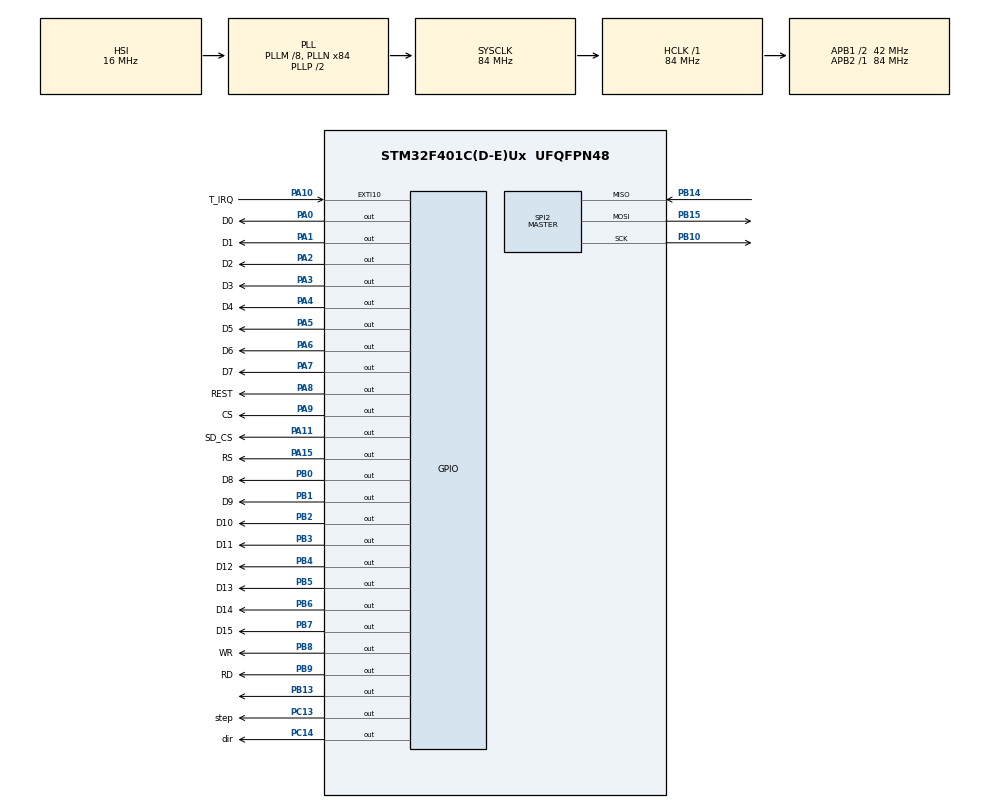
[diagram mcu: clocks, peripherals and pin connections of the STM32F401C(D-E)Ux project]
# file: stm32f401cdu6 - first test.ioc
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Mcu.Family=STM32F4
Mcu.Name=STM32F401C(D-E)Ux
Mcu.Package=UFQFPN48
NVIC.EXTI15_10_IRQn=true\:14\:0\:true\:false\:true\:true\:true\:true
NVIC.PriorityGroup=NVIC_PRIORITYGROUP_4
NVIC.TIM1_UP_TIM10_IRQn=true\:0\:0\:false\:false\:true\:true\:true\:true
PA0-WKUP.GPIO_Label=D0
PA0-WKUP.GPIO_PuPd=GPIO_NOPULL
PA0-WKUP.GPIO_Speed=GPIO_SPEED_FREQ_VERY_HIGH
PA0-WKUP.Signal=GPIO_Output
PA1.GPIO_Label=D1
PA1.GPIO_PuPd=GPIO_NOPULL
PA1.GPIO_Speed=GPIO_SPEED_FREQ_VERY_HIGH
PA1.Signal=GPIO_Output
PA10.GPIO_Label=T_IRQ
PA10.GPIO_ModeDefaultEXTI=GPIO_MODE_IT_FALLING
PA10.Signal=GPXTI10
PA11.GPIO_Label=SD_CS
PA11.PinState=GPIO_PIN_SET
PA11.Signal=GPIO_Output
PA15.GPIO_Label=RS
PA15.GPIO_PuPd=GPIO_NOPULL
PA15.GPIO_Speed=GPIO_SPEED_FREQ_VERY_HIGH
PA15.Signal=GPIO_Output
PA2.GPIO_Label=D2
PA2.GPIO_PuPd=GPIO_NOPULL
PA2.GPIO_Speed=GPIO_SPEED_FREQ_VERY_HIGH
PA2.Signal=GPIO_Output
PA3.GPIO_Label=D3
PA3.GPIO_PuPd=GPIO_NOPULL
PA3.GPIO_Speed=GPIO_SPEED_FREQ_VERY_HIGH
PA3.Signal=GPIO_Output
PA4.GPIO_Label=D4
PA4.GPIO_PuPd=GPIO_NOPULL
PA4.GPIO_Speed=GPIO_SPEED_FREQ_VERY_HIGH
PA4.Signal=GPIO_Output
PA5.GPIO_Label=D5
PA5.GPIO_PuPd=GPIO_NOPULL
PA5.GPIO_Speed=GPIO_SPEED_FREQ_VERY_HIGH
PA5.Signal=GPIO_Output
PA6.GPIO_Label=D6
PA6.GPIO_PuPd=GPIO_NOPULL
PA6.GPIO_Speed=GPIO_SPEED_FREQ_VERY_HIGH
PA6.Signal=GPIO_Output
PA7.GPIO_Label=D7
PA7.GPIO_PuPd=GPIO_NOPULL
PA7.GPIO_Speed=GPIO_SPEED_FREQ_VERY_HIGH
PA7.Signal=GPIO_Output
PA8.GPIO_Label=REST
PA8.GPIO_PuPd=GPIO_NOPULL
PA8.GPIO_Speed=GPIO_SPEED_FREQ_VERY_HIGH
PA8.Signal=GPIO_Output
PA9.GPIO_Label=CS
PA9.GPIO_PuPd=GPIO_NOPULL
PA9.GPIO_Speed=GPIO_SPEED_FREQ_VERY_HIGH
PA9.Signal=GPIO_Output
PB0.GPIO_Label=D8
PB0.GPIO_PuPd=GPIO_NOPULL
PB0.GPIO_Speed=GPIO_SPEED_FREQ_VERY_HIGH
PB0.Signal=GPIO_Output
PB1.GPIO_Label=D9
PB1.GPIO_PuPd=GPIO_NOPULL
PB1.GPIO_Speed=GPIO_SPEED_FREQ_VERY_HIGH
PB1.Signal=GPIO_Output
PB10.Mode=Full_Duplex_Master
PB10.Signal=SPI2_SCK
PB13.GPIO_Speed=GPIO_SPEED_FREQ_HIGH
PB13.Signal=GPIO_Output
PB14.Mode=Full_Duplex_Master
PB14.Signal=SPI2_MISO
PB15.Mode=Full_Duplex_Master
PB15.Signal=SPI2_MOSI
PB2.GPIO_Label=D10
PB2.GPIO_PuPd=GPIO_NOPULL
PB2.GPIO_Speed=GPIO_SPEED_FREQ_VERY_HIGH
PB2.Signal=GPIO_Output
PB3.GPIO_Label=D11
PB3.GPIO_PuPd=GPIO_NOPULL
PB3.GPIO_Speed=GPIO_SPEED_FREQ_VERY_HIGH
PB3.Signal=GPIO_Output
PB4.GPIO_Label=D12
PB4.GPIO_PuPd=GPIO_NOPULL
PB4.GPIO_Speed=GPIO_SPEED_FREQ_VERY_HIGH
PB4.Signal=GPIO_Output
PB5.GPIO_Label=D13
PB5.GPIO_PuPd=GPIO_NOPULL
PB5.GPIO_Speed=GPIO_SPEED_FREQ_VERY_HIGH
PB5.Signal=GPIO_Output
PB6.GPIO_Label=D14
PB6.GPIO_PuPd=GPIO_NOPULL
PB6.GPIO_Speed=GPIO_SPEED_FREQ_VERY_HIGH
PB6.Signal=GPIO_Output
PB7.GPIO_Label=D15
PB7.GPIO_PuPd=GPIO_NOPULL
PB7.GPIO_Speed=GPIO_SPEED_FREQ_VERY_HIGH
PB7.Signal=GPIO_Output
PB8.GPIO_Label=WR
PB8.GPIO_PuPd=GPIO_NOPULL
PB8.GPIO_Speed=GPIO_SPEED_FREQ_VERY_HIGH
PB8.Signal=GPIO_Output
PB9.GPIO_Label=RD
PB9.GPIO_PuPd=GPIO_NOPULL
PB9.GPIO_Speed=GPIO_SPEED_FREQ_VERY_HIGH
PB9.Signal=GPIO_Output
PC13-ANTI_TAMP.GPIO_Label=step
PC13-ANTI_TAMP.Signal=GPIO_Output
PC14-OSC32_IN.GPIO_Label=dir
PC14-OSC32_IN.Signal=GPIO_Output
PH0\ -\ OSC_IN.Mode=HSE-External-Oscillator
PH0\ -\ OSC_IN.Signal=RCC_OSC_IN
PH1\ -\ OSC_OUT.Mode=HSE-External-Oscillator
PH1\ -\ OSC_OUT.Signal=RCC_OSC_OUT
ProjectManager.HeapSize=0x200
ProjectManager.StackSize=0x400
ProjectManager.TargetToolchain=STM32CubeIDE
RCC.48MHZClocksFreq_Value=42000000
RCC.AHBFreq_Value=84000000
RCC.APB1CLKDivider=RCC_HCLK_DIV2
RCC.APB1Freq_Value=42000000
RCC.APB1TimFreq_Value=84000000
RCC.APB2Freq_Value=84000000
RCC.APB2TimFreq_Value=84000000
RCC.CortexFreq_Value=84000000
RCC.HCLKFreq_Value=84000000
RCC.HSE_VALUE=25000000
RCC.HSI_VALUE=16000000
RCC.LSE_VALUE=32768
RCC.PLLM=8
RCC.PLLN=84
RCC.SYSCLKFreq_VALUE=84000000
RCC.SYSCLKSource=RCC_SYSCLKSOURCE_PLLCLK
RCC.VCOOutputFreq_Value=168000000
SPI2.BaudRatePrescaler=SPI_BAUDRATEPRESCALER_16
SPI2.Direction=SPI_DIRECTION_2LINES
SPI2.Mode=SPI_MODE_MASTER
SPI2.VirtualType=VM_MASTER
TIM10.AutoReloadPreload=TIM_AUTORELOAD_PRELOAD_ENABLE
TIM10.Period=100
TIM10.Prescaler=83
VP_TIM10_VS_ClockSourceINT.Mode=Enable_Timer
board=custom

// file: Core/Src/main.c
/* USER CODE BEGIN Header */
/**
  ******************************************************************************
  * @file           : main.c
  * @brief          : Main program body
  ******************************************************************************
  * @attention
  *
  * Copyright (c) 2024 STMicroelectronics.
  * All rights reserved.
  *
  * This software is licensed under terms that can be found in the LICENSE file
  * in the root directory of this software component.
  * If no LICENSE file comes with this software, it is provided AS-IS.
  *
  ******************************************************************************
  */
/* USER CODE END Header */
#include "main.h"
#include "spi.h"
#include "tim.h"
#include "gpio.h"

/* USER CODE BEGIN Includes */
//#include "xpt2046.h"
#include "stdio.h"

#include "display_ssd1963.h"
#include "math.h"

#include "008_Open_Sans_Bold.h"
#include "009_Open_Sans_Bold.h"
#include "010_Open_Sans_Bold.h"
#include "012_Open_Sans_Bold.h"
#include "014_Open_Sans_Bold.h"
#include "016_Open_Sans_Bold.h"
#include "018_Open_Sans_Bold.h"
#include "020_Open_Sans_Bold.h"
#include "022_Open_Sans_Bold.h"
#include "024_Open_Sans_Bold.h"
#include "026_Open_Sans_Bold.h"
#include "028_Open_Sans_Bold.h"
#include "036_Open_Sans_Bold.h"
#include "048_Open_Sans_Bold.h"
#include "072_Open_Sans_Bold.h"
#include "096_Open_Sans_Bold.h"
#include "112_Open_Sans_Bold.h"
#include "128_Open_Sans_Bold.h"
#include "bitmap_arrays.h"

#define _Open_Sans_Bold_8      &Open_Sans_Bold_8
#define _Open_Sans_Bold_9      &Open_Sans_Bold_9
#define _Open_Sans_Bold_10     &Open_Sans_Bold_10
#define _Open_Sans_Bold_11     &Open_Sans_Bold_11
#define _Open_Sans_Bold_12      &Open_Sans_Bold_12
#define _Open_Sans_Bold_14      &Open_Sans_Bold_14
#define _Open_Sans_Bold_16      &Open_Sans_Bold_16
#define _Open_Sans_Bold_18      &Open_Sans_Bold_18
#define _Open_Sans_Bold_20      &Open_Sans_Bold_20
#define _Open_Sans_Bold_22      &Open_Sans_Bold_22
#define _Open_Sans_Bold_24      &Open_Sans_Bold_24
#define _Open_Sans_Bold_26      &Open_Sans_Bold_26
#define _Open_Sans_Bold_28      &Open_Sans_Bold_28
#define _Open_Sans_Bold_36      &Open_Sans_Bold_36
#define _Open_Sans_Bold_48      &Open_Sans_Bold_48
#define _Open_Sans_Bold_72      &Open_Sans_Bold_72
#define _Open_Sans_Bold_96      &Open_Sans_Bold_96
#define _Open_Sans_Bold_112      &Open_Sans_Bold_112
#define _Open_Sans_Bold_128      &Open_Sans_Bold_128

uint16_t touchX = 0, touchY = 0;
uint8_t was_touched=0;

uint16_t x00=0, x11=0, y00=0, y11=0;

float sx = 0, sy = 1;

#define COLOR565(r, g, b) (((r & 0xF8) << 8) | ((g & 0xFC) << 3) | ((b & 0xF8) >> 3))
#define RED2RED 0
#define GREEN2GREEN 1
#define BLUE2BLUE 2
#define BLUE2RED 3
#define GREEN2RED 4
#define RED2GREEN 5
/* USER CODE END Includes */

void SystemClock_Config(void);

int main(void)
{
  /* USER CODE BEGIN 1 */
	//NVIC_DisableIRQ(EXTI15_10_IRQn);
  /* USER CODE END 1 */

  /* MCU Configuration--------------------------------------------------------*/

  /* Reset of all peripherals, Initializes the Flash interface and the Systick. */
  HAL_Init();

  /* Configure the system clock */
  SystemClock_Config();

  /* Initialize all configured peripherals */
  MX_GPIO_Init();
  MX_SPI2_Init();
  MX_TIM10_Init();
  /* USER CODE BEGIN 2 */
  //HAL_GPIO_WritePin(GPIOA, GPIO_PIN_11, GPIO_PIN_SET);
  Init_SSD1963();
  NVIC_DisableIRQ(EXTI15_10_IRQn);
  HAL_GPIO_WritePin(GPIOA, GPIO_PIN_11, GPIO_PIN_SET);

  uint16_t pos_y;
    TFT_Clear_Screen(0xCFFF);
//    TFT_Draw_Fill_Rectangle(100,0, 600, 144, 0xD61F);//niebieska ramka
//
//
//
//
//	TFT_Draw_Fill_Rectangle(780,0, 20, 20, 0x8C51);//szary prostokąt z prawej
//	TFT_Draw_Fill_Rectangle(780,460, 20, 20, 0x8C51);
//	TFT_Draw_Fill_Round_Rect (680, 0, 120, 480, 20, 0x8C51);
//	pos_y = 9;
//	for(uint8_t i = 0; i<7;i+=1)//przyciski po prawej
//	{
//		TFT_Draw_Fill_Round_Rect (696, pos_y, 88, 47, 10,  0xD6BA);
//		TFT_Draw_Fill_Rectangle(740,pos_y, 2, 47, 0x0000);
//		LCD_centered_Font(696, pos_y+24, 88, "+   -", _Open_Sans_Bold_48, 1, 0x4A69);
//		pos_y+=56;
//	}
//	TFT_Draw_Fill_Round_Rect (696, 413, 88, 47, 10,  0xD6BA);
//	TFT_Draw_Fill_Rectangle(740, 413, 2, 47, 0x0000);
//	LCD_centered_Font(696, 413+24, 88, "+   -", _Open_Sans_Bold_48, 1, 0x4A69);
//	LCD_centered_Font(696, 9+25, 88, "X", _Open_Sans_Bold_48, 1, 0x7D3D);//literki po prawej
//	LCD_centered_Font(696, 65+25, 88, "Y", _Open_Sans_Bold_48, 1, 0x7D3D);
//	LCD_centered_Font(696, 121+25, 88, "Z", _Open_Sans_Bold_48, 1, 0x7D3D);
//	LCD_centered_Font(696, 177+25, 88, "A", _Open_Sans_Bold_48, 1, 0x7D3D);
//	LCD_centered_Font(696, 233+25, 88, "B", _Open_Sans_Bold_48, 1, 0x7D3D);
//	LCD_centered_Font(696, 289+25, 88, "C", _Open_Sans_Bold_48, 1, 0x7D3D);
//	LCD_FillTriangle(732, 417,732, 417+38, 732+24, 417+19, 0x7D3D);
//	TFT_Draw_Bitmap_Without_Background(721, 353, hand_icon_x, hand_icon_y, hand_icon);
//
//
//
//
//    TFT_Draw_Fill_Rectangle(0,0, 20, 20, 0x8C51);//szary prostokąt z lewej
//    TFT_Draw_Fill_Rectangle(0,460, 20, 20, 0x8C51);
//    TFT_Draw_Fill_Round_Rect (0, 0, 120, 480, 20, 0x8C51);
//    pos_y = 33;
//    for(uint8_t i = 0; i<8;i+=1)//przyciski po lewej
//    {
//        TFT_Draw_Fill_Round_Rect (16, pos_y, 88, 47, 10,  0xD6BA);
//        pos_y+=56;
//    }
//    LCD_centered_Font(0, 0+16, 120, "JOB NAME", _Open_Sans_Bold_14, 1, BLACK);
//	LCD_centered_Font(16, 33+24, 88, "OPEN", _Open_Sans_Bold_14, 1, 0x7D3D);//literki po lewej
//	LCD_centered_Font(16, 89+24, 88, "CONT. JOB", _Open_Sans_Bold_14, 1, 0x7D3D);
//	LCD_centered_Font(16, 145+24, 88, "MANUAL", _Open_Sans_Bold_14, 1, 0x7D3D);
//	LCD_centered_Font(16, 201+14, 88, "ENABLE\nTOOL", _Open_Sans_Bold_14, 1, 0x7D3D);
//	LCD_centered_Font(16, 257+24, 88, "RUN JOB", _Open_Sans_Bold_14, 1, 0x7D3D);
//	LCD_centered_Font(16, 313+14, 88, "AXIS\nCONTROL", _Open_Sans_Bold_14, 1, 0x7D3D);
//	LCD_centered_Font(16, 369+14, 88, "CONT.\nMOVEMENT", _Open_Sans_Bold_14, 1, 0x7D3D);
//	LCD_centered_Font(16, 425+24, 88, "SETTINGS", _Open_Sans_Bold_14, 1, 0x7D3D);
//
//
//
//
//	TFT_Draw_Fill_Round_Rect (132, 9, 70, 41, 20,  0xD6BA);//przyciski na gorze
//	TFT_Draw_Fill_Round_Rect (212, 9, 70, 41, 20,  0xD6BA);
//	TFT_Draw_Fill_Round_Rect (291, 9, 70, 41, 20,  0xD6BA);
//	TFT_Draw_Fill_Round_Rect (371, 9, 81, 41, 20,  0xD6BA);
//	TFT_Draw_Fill_Round_Rect (462, 9, 72, 41, 20,  0xD6BA);
//	TFT_Draw_Fill_Round_Rect (544, 9, 72, 41, 20,  0xD6BA);
//	TFT_Draw_Fill_Round_Rect (628, 15, 40, 40, 20,  0xD6BA);
//	TFT_Draw_Fill_Round_Rect (628, 88, 40, 40, 20,  0xD6BA);
//	TFT_Draw_Fill_Round_Rect (211, 68, 61, 21, 10,  0xD6BA);
//	TFT_Draw_Fill_Round_Rect (211, 109, 61, 21, 10,  0xD6BA);
//	TFT_Draw_Fill_Round_Rect (362, 68, 61, 21, 10,  0xD6BA);
//	TFT_Draw_Fill_Round_Rect (362, 109, 61, 21, 10,  0xD6BA);
//	TFT_Draw_Fill_Round_Rect (532, 68, 61, 21, 10,  0xD6BA);
//	TFT_Draw_Fill_Round_Rect (532, 109, 61, 21, 10,  0xD6BA);
//    LCD_centered_Font(132, 9+22, 70, "SELECT", _Open_Sans_Bold_14, 1, BLACK);//opisy przyciskow
//    LCD_centered_Font(212, 9+22, 70, "NEW P.", _Open_Sans_Bold_14, 1, BLACK);
//    LCD_centered_Font(291, 9+22, 70, "EDIT P.", _Open_Sans_Bold_14, 1, BLACK);
//    LCD_Font(371, 9+22,  "DELETE P.", _Open_Sans_Bold_14, 1, BLACK);
//    LCD_centered_Font(462, 9+22, 70, "SET T.P.", _Open_Sans_Bold_14, 1, BLACK);
//    LCD_centered_Font(544, 9+22, 70, "SET H.P", _Open_Sans_Bold_14, 1, BLACK);
//    LCD_Font(155, 67+11, "Name:", _Open_Sans_Bold_14, 1, BLACK);
//    LCD_Font(155, 109+11, "Tool:", _Open_Sans_Bold_14, 1, BLACK);
//    LCD_Font(295, 67+11, "Move:", _Open_Sans_Bold_14, 1, BLACK);
//    LCD_Font(295, 109+11, "Speed:", _Open_Sans_Bold_14, 1, BLACK);
//    LCD_Font(446, 67+11, "Type:", _Open_Sans_Bold_14, 1, BLACK);
//    LCD_Font(446, 109+11, "at Target:", _Open_Sans_Bold_14, 1, BLACK);
//    LCD_centered_Font(211, 68+11, 61, "P11", _Open_Sans_Bold_14, 1, BLACK);
//    LCD_centered_Font(211, 109+11, 41, "OFF", _Open_Sans_Bold_14, 1, BLACK);
//    LCD_centered_Font(362, 68+11, 41, "Circ", _Open_Sans_Bold_14, 1, BLACK);
//    LCD_centered_Font(362, 109+11, 41, "100%", _Open_Sans_Bold_14, 1, BLACK);
//    LCD_centered_Font(532, 68+11, 41, "Cont", _Open_Sans_Bold_14, 1, BLACK);
//    LCD_centered_Font(532, 109+11, 61, "YES", _Open_Sans_Bold_14, 1, BLACK);
//	LCD_FillTriangle(636, 42,636+23, 42, 647, 22, 0x00FD);
//	LCD_FillTriangle(636, 42+59,636+23, 42+59, 647, 22+40+59, 0x00FD);
//	LCD_FillTriangle(574, 74,573+13, 74, 580, 74+11, 0x00FD);
//	//LCD_FillTriangle(574, 74+41,573+13, 74+41, 580, 74+11+41, 0x00FD);
//	LCD_FillTriangle(574-170, 74,573+13-170, 74, 580-170, 74+11, 0x00FD);
//	LCD_FillTriangle(574-170, 74+41,573+13-170, 74+41, 580-170, 74+11+41, 0x00FD);
//	LCD_FillTriangle(574-322, 74+41,573+13-322, 74+41, 580-322, 74+11+41, 0x00FD);

    TFT_Draw_Fill_Round_Rect (100, 80, 200, 120, 20,  0xD6BA);
    LCD_centered_Font(100, 40, 200, "Prawo", _Open_Sans_Bold_28, 1, BLACK);
    TFT_Draw_Fill_Round_Rect (500, 80, 200, 120, 20,  0xD6BA);
    LCD_centered_Font(500, 40, 200, "Lewo", _Open_Sans_Bold_28, 1, BLACK);

    TFT_Draw_Fill_Round_Rect (100, 280, 200, 120, 20,  0xD6BA);
    LCD_centered_Font(100, 340, 200, "Szybciej", _Open_Sans_Bold_28, 1, BLACK);
    TFT_Draw_Fill_Round_Rect (500, 280, 200, 120, 20,  0xD6BA);
    LCD_centered_Font(500, 340, 200, "Wolniej", _Open_Sans_Bold_28, 1, BLACK);
  /* USER CODE END 2 */

  /* Infinite loop */
  /* USER CODE BEGIN WHILE */

    int allertX = 220;	//MAX size is 220x200 - with bigger tabs malloc has problem
    int allertY = 200;
    uint16_t *save = (uint16_t *)malloc(allertX* allertY * sizeof(uint16_t));
    XPT2046_Init();
	__HAL_GPIO_EXTI_CLEAR_IT(T_IRQ_Pin);//czyszczenie zgłoszonego przerwania
	NVIC_EnableIRQ(EXTI15_10_IRQn);

int speed =20000;
  while (1)
  {
	  if(was_touched==1){
		  was_touched=0;
		NVIC_DisableIRQ(EXTI15_10_IRQn);
		uint16_t touchx, touchy;
//		char buffer1[10]=""; // Bufor na konwertowaną wartość
//		char buffer2[10]=""; // Bufor na konwertowaną wartość
//		TFT_Draw_Fill_Round_Rect (280, 180, 200, 60, 10,  0xCFFF);
		touchx = getX();
//		sprintf(buffer1, "X%d", touchx); // Konwersja wartości do ciągu znaków
		touchy = getY();
//		sprintf(buffer2, "Y%d", touchy); // Konwersja wartości do ciągu znaków

//		LCD_Font(300, 200,  buffer1, _Open_Sans_Bold_28, 1, BLACK);
//		LCD_Font(300, 220,  buffer2, _Open_Sans_Bold_28, 1, BLACK);
//		HAL_Delay(100);

//		for (int i =0; i<10;i+=1)
//		{
//			asm("nop");
//		}

	if(touchx >=100 && touchx<=300 && touchy>=80 && touchy<=200)// 696, pos_y, 88, 47,
	{
		HAL_GPIO_WritePin(dir_GPIO_Port , dir_Pin, GPIO_PIN_RESET);
		was_touched=1;
		for(int i =0; i<10; i++){
			  HAL_GPIO_WritePin(step_GPIO_Port , step_Pin, GPIO_PIN_SET);
			  HAL_GPIO_WritePin(step_GPIO_Port , step_Pin, GPIO_PIN_RESET);
			  for(int j =0; j<20000; j++){
				  asm("NOP");
			  }
		  }
	}
	if(touchx >=500 && touchx<=700 && touchy>=80 && touchy<=200)// 696, pos_y, 88, 47,
	{
		HAL_GPIO_WritePin(dir_GPIO_Port , dir_Pin, GPIO_PIN_SET);
		was_touched=1;
		for(int i =0; i<10; i++){
			  HAL_GPIO_WritePin(step_GPIO_Port , step_Pin, GPIO_PIN_SET);
			  HAL_GPIO_WritePin(step_GPIO_Port , step_Pin, GPIO_PIN_RESET);
			  for(int j =0; j<speed; j++){
				  asm("NOP");
			  }
		  }

	}

	if(touchx >=100 && touchx<=300 && touchy>=280 && touchy<=400)// 696, pos_y, 88, 47,
	{
		if (speed<20000)
			speed+=1000;
	}
	if(touchx >=500 && touchx<=700 && touchy>=280 && touchy<=400)// 696, pos_y, 88, 47,
	{
		if (speed>10000)
			speed-=1000;
	}

	XPT2046_Init();
  }
	__HAL_GPIO_EXTI_CLEAR_IT(T_IRQ_Pin);//czyszczenie zgłoszonego przerwania
	NVIC_EnableIRQ(EXTI15_10_IRQn);

//		HAL_Delay(1000);
//		uint16_t counter3 = TFT_Draw_List(400, 200, 100, "TYPE:", "placek ciastko lody lizak",  save, _Open_Sans_Bold_14);
//		HAL_Delay(1000);
//		TFT_Restore_Area(400, 200, 100, 47+1+34+35*counter3, save);
//		HAL_Delay(1000);
//		uint16_t counter4 = TFT_Draw_List(400, 200, 100, "TYPE:", "",  save, _Open_Sans_Bold_14);
//		HAL_Delay(1000);
//		TFT_Restore_Area(400, 200, 100, 47+1+34+35*counter4, save);
//
//		HAL_Delay(3000);
//		TFT_Draw_Alert (allertX, allertY, "to jest przykladowy alert do celow demonstracyjnych i testowych",  save, _Open_Sans_Bold_20);
//		HAL_Delay(3000);
//		TFT_Restore_Area(TFT_WIDTH/2-(allertX/2), TFT_HEIGHT/2-(allertY/2), allertX, allertY, save);

    /* USER CODE END WHILE */

  }
}

void SystemClock_Config(void)
{
  RCC_OscInitTypeDef RCC_OscInitStruct = {0};
  RCC_ClkInitTypeDef RCC_ClkInitStruct = {0};

  /** Configure the main internal regulator output voltage
  */
  __HAL_RCC_PWR_CLK_ENABLE();
  __HAL_PWR_VOLTAGESCALING_CONFIG(PWR_REGULATOR_VOLTAGE_SCALE2);

  /** Initializes the RCC Oscillators according to the specified parameters
  * in the RCC_OscInitTypeDef structure.
  */
  RCC_OscInitStruct.OscillatorType = RCC_OSCILLATORTYPE_HSI;
  RCC_OscInitStruct.HSIState = RCC_HSI_ON;
  RCC_OscInitStruct.HSICalibrationValue = RCC_HSICALIBRATION_DEFAULT;
  RCC_OscInitStruct.PLL.PLLState = RCC_PLL_ON;
  RCC_OscInitStruct.PLL.PLLSource = RCC_PLLSOURCE_HSI;
  RCC_OscInitStruct.PLL.PLLM = 8;
  RCC_OscInitStruct.PLL.PLLN = 84;
  RCC_OscInitStruct.PLL.PLLP = RCC_PLLP_DIV2;
  RCC_OscInitStruct.PLL.PLLQ = 4;
  if (HAL_RCC_OscConfig(&RCC_OscInitStruct) != HAL_OK)
  {
    Error_Handler();
  }

  /** Initializes the CPU, AHB and APB buses clocks
  */
  RCC_ClkInitStruct.ClockType = RCC_CLOCKTYPE_HCLK|RCC_CLOCKTYPE_SYSCLK
                              |RCC_CLOCKTYPE_PCLK1|RCC_CLOCKTYPE_PCLK2;
  RCC_ClkInitStruct.SYSCLKSource = RCC_SYSCLKSOURCE_PLLCLK;
  RCC_ClkInitStruct.AHBCLKDivider = RCC_SYSCLK_DIV1;
  RCC_ClkInitStruct.APB1CLKDivider = RCC_HCLK_DIV2;
  RCC_ClkInitStruct.APB2CLKDivider = RCC_HCLK_DIV1;

  if (HAL_RCC_ClockConfig(&RCC_ClkInitStruct, FLASH_LATENCY_2) != HAL_OK)
  {
    Error_Handler();
  }
}

/* USER CODE BEGIN 4 */
void HAL_GPIO_EXTI_Callback(uint16_t GPIO_Pin)
{

	if(GPIO_Pin == T_IRQ_Pin)
	{
		was_touched=1;
//					__HAL_GPIO_EXTI_CLEAR_IT(EXTI15_10_IRQn);//czyszczenie zgłoszonego przerwania
//					NVIC_DisableIRQ(EXTI15_10_IRQn);
//					uint16_t touchx, touchy;
//					char buffer1[10]=""; // Bufor na konwertowaną wartość
//					char buffer2[10]=""; // Bufor na konwertowaną wartość
//					TFT_Draw_Fill_Round_Rect (280, 180, 200, 60, 10,  0xCFFF);
//					touchx = getX();//pobrannie wartości X
//					sprintf(buffer1, "X%d", touchx); // Konwersja wartości do ciągu znaków
//					touchy = getY();//pobrannie wartości Y
//					sprintf(buffer2, "Y%d", touchy); // Konwersja wartości do ciągu znaków
//
//					LCD_Font(300, 200,  buffer1, _Open_Sans_Bold_28, 1, BLACK);
//					LCD_Font(300, 220,  buffer2, _Open_Sans_Bold_28, 1, BLACK);
//					HAL_Delay(1000);
//					XPT2046_Init();//włączenie przerwań
//					__HAL_GPIO_EXTI_CLEAR_IT(T_IRQ_Pin);//czyszczenie zgłoszonego przerwania
//					NVIC_EnableIRQ(EXTI15_10_IRQn);

	}
}
/* USER CODE END 4 */

void Error_Handler(void)
{
  __disable_irq();
  while (1)
  {
  }
}
